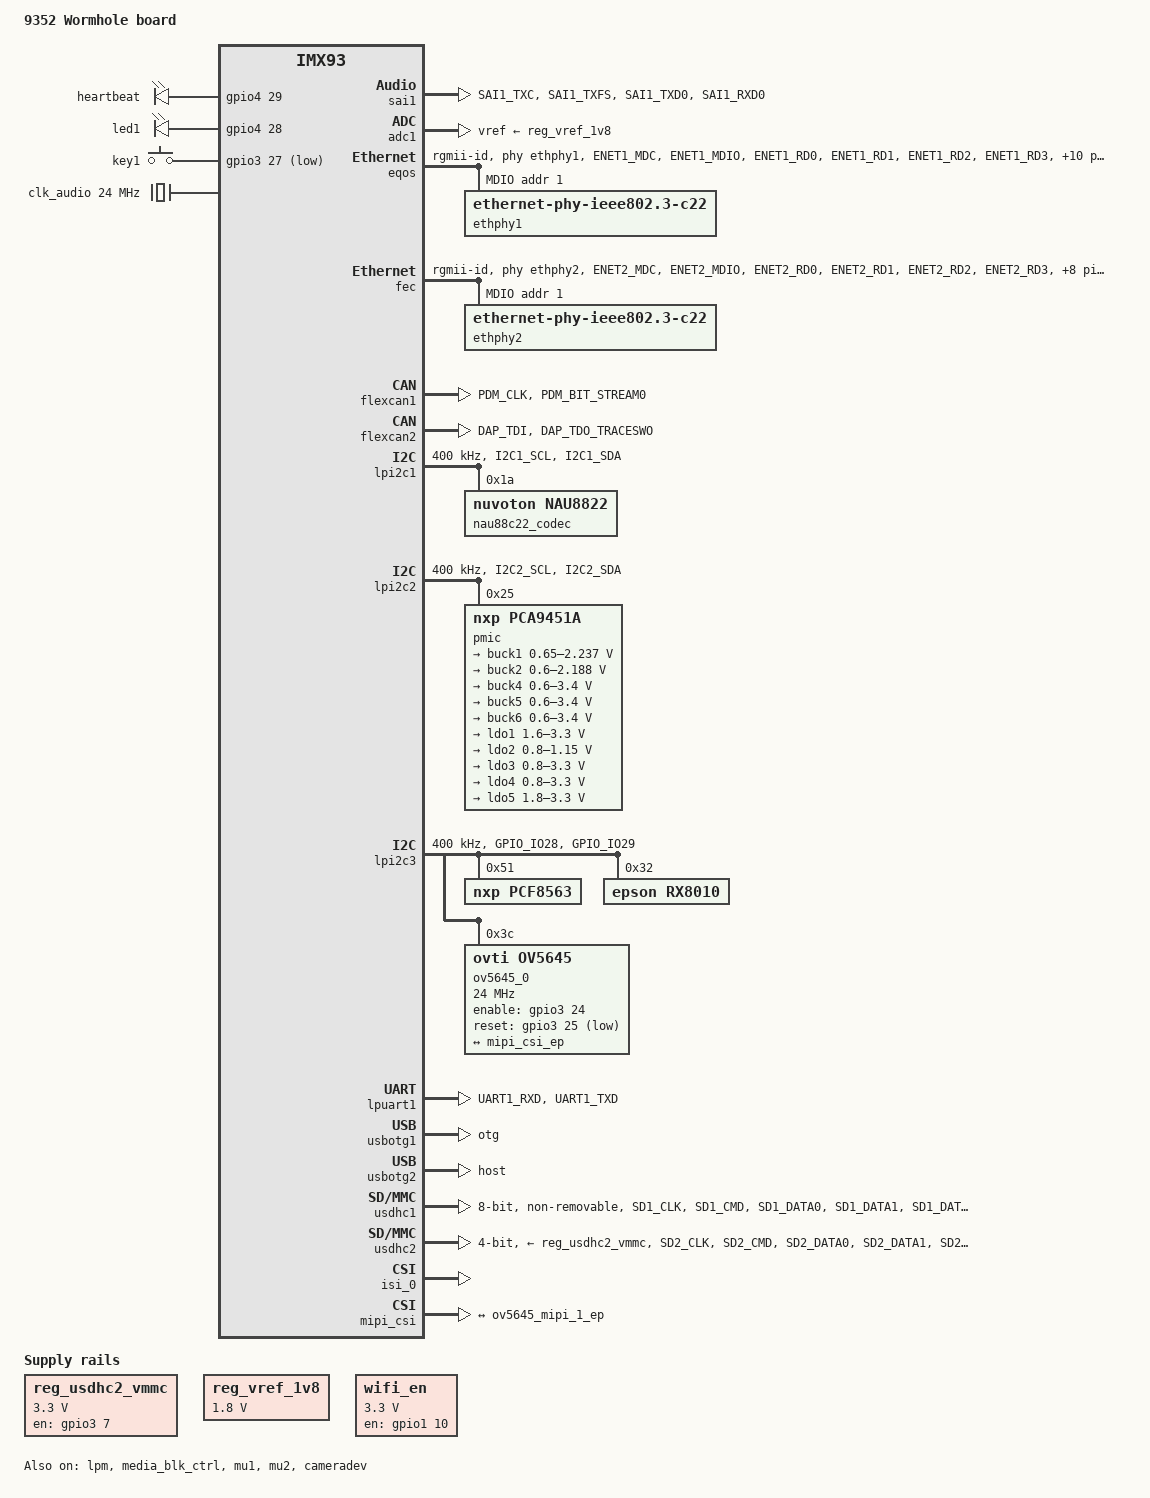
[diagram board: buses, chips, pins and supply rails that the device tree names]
// SPDX-License-Identifier: (GPL-2.0+ OR MIT)
/*
 * Copyright 2022 NXP
 */

/dts-v1/;

#include <dt-bindings/usb/pd.h>
#include "imx9352.dtsi"

&ele_mu {
	memory-region = <&ele_reserved>;
};

/ {
	model = "9352 Wormhole board";
	compatible = "fsl,imx93-11x11-evk", "fsl,imx93";

	chosen {
		stdout-path = &lpuart1;
	};

	reserved-memory {
		#address-cells = <2>;
		#size-cells = <2>;
		ranges;

		linux,cma {
			compatible = "shared-dma-pool";
			reusable;
			alloc-ranges = <0 0x80000000 0 0x25000000>;
			size = <0 0x10000000>;
			linux,cma-default;
		};

		ethosu_mem: ethosu_region@a5000000 {
			compatible = "shared-dma-pool";
			reusable;
			reg = <0x0 0xa5000000 0x0 0x10000000>;
		};

		vdev0vring0: vdev0vring0@a4000000 {
			reg = <0 0xa4000000 0 0x8000>;
			no-map;
		};

		vdev0vring1: vdev0vring1@a4008000 {
			reg = <0 0xa4008000 0 0x8000>;
			no-map;
		};

		vdev1vring0: vdev1vring0@a4000000 {
			reg = <0 0xa4010000 0 0x8000>;
			no-map;
		};

		vdev1vring1: vdev1vring1@a4018000 {
			reg = <0 0xa4018000 0 0x8000>;
			no-map;
		};

		rsc_table: rsc-table@2021e000 {
			reg = <0 0x2021e000 0 0x1000>;
			no-map;
		};

		vdevbuffer: vdevbuffer@a4020000 {
			compatible = "shared-dma-pool";
			reg = <0 0xa4020000 0 0x100000>;
			no-map;
		};

		ele_reserved: ele-reserved@a4120000 {
			compatible = "shared-dma-pool";
			reg = <0 0xa4120000 0 0x100000>;
			no-map;
		};
	};

	leds {
		compatible = "gpio-leds";
		pinctrl-names = "default";
		pinctrl-0 = <&pinctrl_gpio_led>;

		led-0 {
			label = "heartbeat";
			linux,default-trigger = "heartbeat";
			gpios = <&gpio4 29 GPIO_ACTIVE_HIGH>;
			default-state = "off";
		};

		led-1 {
			label = "led1";
			linux,default-trigger = "timer";
			/*gpios = <&gpio3 26 GPIO_ACTIVE_HIGH>;*/
			gpios = <&gpio4 28 GPIO_ACTIVE_HIGH>;
			default-state = "on";
		};
	};

	keys {
		compatible = "gpio-keys";
		pinctrl-names = "default";
		pinctrl-0 = <&pinctrl_gpio_key>;
		
		key1 {
			label = "key1";
			linux,code = <103>;
			debounce-interval = <20>;
			gpios = <&gpio3 27 GPIO_ACTIVE_LOW>;
		};
	};

	cm33: imx93-cm33 {
		compatible = "fsl,imx93-cm33";
		mbox-names = "tx", "rx", "rxdb";
		mboxes = <&mu1 0 1
			  &mu1 1 1
			  &mu1 3 1>;
		memory-region = <&vdevbuffer>, <&vdev0vring0>, <&vdev0vring1>,
				<&vdev1vring0>, <&vdev1vring1>, <&rsc_table>;
		fsl,startup-delay-ms = <500>;
	};

	ethosu {
		compatible = "arm,ethosu";
		fsl,cm33-proc = <&cm33>;
		memory-region = <&ethosu_mem>;
		power-domains = <&mlmix>;
	};

	reg_usdhc2_vmmc: regulator-usdhc2 {
		compatible = "regulator-fixed";
		pinctrl-names = "default";
		pinctrl-0 = <&pinctrl_reg_usdhc2_vmmc>;
		regulator-name = "VSD_3V3";
		regulator-min-microvolt = <3300000>;
		regulator-max-microvolt = <3300000>;
		gpio = <&gpio3 7 GPIO_ACTIVE_HIGH>;
		off-on-delay-us = <12000>;
		enable-active-high;
	};

	reg_vref_1v8: regulator-adc-vref {
		compatible = "regulator-fixed";
		regulator-name = "vref_1v8";
		regulator-min-microvolt = <1800000>;
		regulator-max-microvolt = <1800000>;
	};

	wifi_en: wifi-en {
		compatible = "regulator-fixed";
		pinctrl-names = "default";
		pinctrl-0 = <&pinctrl_wifi_en>;
		regulator-name = "WIFI_EN_3V3";
		regulator-min-microvolt = <3300000>;
		regulator-max-microvolt = <3300000>;
		gpio = <&gpio1 10 GPIO_ACTIVE_HIGH>;
		enable-active-high;
	};

	board_gpio: board-gpio {
		compatible = "regulator-fixed";
		pinctrl-names = "default";
		pinctrl-0 = <&pinctrl_gpio>;
		regulator-name = "BOARD_GPIO_CONFIG";
		status = "disabled";
	};
	sound-nau88c22 {
		status = "okay";
		compatible = "fsl,imx-audio-nau88c22";
		model = "nau88c22-audio";
		audio-cpu = <&sai1>;
		audio-codec = <&nau88c22_codec>;
		audio-routing =
			"Headphone Jack", "RHP",
			"Headphone Jack", "LHP",
			"Ext Spk", "LSPK",
			"Ext Spk", "RSPK",
			"RMICP", "AMIC",
			"RMICN", "AMIC",
			"RMICP", "AMIC",
			"RMICN", "AMIC",
			"LMICP", "AMIC",
			"LMICN", "AMIC",
			"LMICP", "AMIC",
			"LMICN", "AMIC";
	};

	clk_audio: clock-audio {
		compatible = "fixed-clock";
		#clock-cells = <0>;
		clock-frequency = <24000000>;
		clock-output-names = "clk_audio";
	};

};

&sai1 {
	#sound-dai-cells = <0>;
	pinctrl-names = "default";
	pinctrl-0 = <&pinctrl_sai1>;
	assigned-clocks = <&clk IMX93_CLK_SAI1>;
	assigned-clock-parents = <&clk IMX93_CLK_AUDIO_PLL>;
	assigned-clock-rates = <12288000>;
	status = "okay";
};

	
&adc1 {
	vref-supply = <&reg_vref_1v8>;
	status = "okay";
};





&eqos {
	pinctrl-names = "default";
	pinctrl-0 = <&pinctrl_eqos>, <&pinctrl_eth_reset>;
	phy-reset-gpios = <&gpio3 20 GPIO_ACTIVE_LOW>;
	phy-reset-duration = <200>;
	phy-mode = "rgmii-id";
	phy-handle = <&ethphy1>;
	status = "okay";

	mdio {
		compatible = "snps,dwmac-mdio";
		#address-cells = <1>;
		#size-cells = <0>;
		clock-frequency = <5000000>;

		ethphy1: ethernet-phy@1 {
			compatible = "ethernet-phy-ieee802.3-c22";
			reg = <1>;
			eee-broken-1000t;
			rtl821x,aldps-disable;
			rtl821x,clkout-disable;
		};
	};
};

&fec {
	pinctrl-names = "default";
	pinctrl-0 = <&pinctrl_fec>;
	phy-mode = "rgmii-id";
	phy-handle = <&ethphy2>;
	fsl,magic-packet;
	status = "okay";

	mdio {
		#address-cells = <1>;
		#size-cells = <0>;
		clock-frequency = <5000000>;

		ethphy2: ethernet-phy@1 {
			compatible = "ethernet-phy-ieee802.3-c22";
			reg = <1>;
			eee-broken-1000t;
			rtl821x,aldps-disable;
			rtl821x,clkout-disable;
		};
	};
};

&flexcan1 {
	pinctrl-names = "default";
	pinctrl-0 = <&pinctrl_flexcan1>;
/*	xceiver-supply = <&reg_can2_stby>;*/
	status = "okay";
};

&flexcan2 {
	pinctrl-names = "default";
	pinctrl-0 = <&pinctrl_flexcan2>;
/*	xceiver-supply = <&reg_can2_stby>;*/
	status = "okay";
};


&lpm {
	soc-supply = <&buck1>;
	status = "okay";
};

/*
 * When add, delete or change any target device setting in &lpi2c1,
 * please synchronize the changes to the &i3c1 bus in imx93-11x11-evk-i3c.dts.
 */
&lpi2c1 {
	#address-cells = <1>;
	#size-cells = <0>;
	clock-frequency = <400000>;
	pinctrl-names = "default", "sleep";
	pinctrl-0 = <&pinctrl_lpi2c1>;
	pinctrl-1 = <&pinctrl_lpi2c1>;
	status = "okay";

	nau88c22_codec: nau8822@1a {
		status = "okay";
		#sound-dai-cells = <0>;
		compatible = "nuvoton,nau8822";
		reg = <0x1a>;
		clocks = <&clk_audio>;
		clock-names = "mclk";
	};
};

&lpi2c2 {
	#address-cells = <1>;
	#size-cells = <0>;
	clock-frequency = <400000>;
	pinctrl-names = "default", "sleep";
	pinctrl-0 = <&pinctrl_lpi2c2>;
	pinctrl-1 = <&pinctrl_lpi2c2>;
	status = "okay";

	pmic@25 {
		compatible = "nxp,pca9451a";
		reg = <0x25>;
/*		interrupt-parent = <&pcal6524>;
		interrupts = <11 IRQ_TYPE_EDGE_FALLING>;*/

		regulators {
			buck1: BUCK1 {
				regulator-name = "BUCK1";
				regulator-min-microvolt = <650000>;
				regulator-max-microvolt = <2237500>;
				regulator-boot-on;
				regulator-always-on;
				regulator-ramp-delay = <3125>;
			};

			buck2: BUCK2 {
				regulator-name = "BUCK2";
				regulator-min-microvolt = <600000>;
				regulator-max-microvolt = <2187500>;
				regulator-boot-on;
				regulator-always-on;
				regulator-ramp-delay = <3125>;
			};

			buck4: BUCK4{
				regulator-name = "BUCK4";
				regulator-min-microvolt = <600000>;
				regulator-max-microvolt = <3400000>;
				regulator-boot-on;
				regulator-always-on;
			};

			buck5: BUCK5{
				regulator-name = "BUCK5";
				regulator-min-microvolt = <600000>;
				regulator-max-microvolt = <3400000>;
				regulator-boot-on;
				regulator-always-on;
			};

			buck6: BUCK6 {
				regulator-name = "BUCK6";
				regulator-min-microvolt = <600000>;
				regulator-max-microvolt = <3400000>;
				regulator-boot-on;
				regulator-always-on;
			};

			ldo1: LDO1 {
				regulator-name = "LDO1";
				regulator-min-microvolt = <1600000>;
				regulator-max-microvolt = <3300000>;
				regulator-boot-on;
				regulator-always-on;
			};

			ldo2: LDO2 {
				regulator-name = "LDO2";
				regulator-min-microvolt = <800000>;
				regulator-max-microvolt = <1150000>;
				regulator-boot-on;
				regulator-always-on;
			};

			ldo3: LDO3 {
				regulator-name = "LDO3";
				regulator-min-microvolt = <800000>;
				regulator-max-microvolt = <3300000>;
				regulator-boot-on;
				regulator-always-on;
			};

			ldo4: LDO4 {
				regulator-name = "LDO4";
				regulator-min-microvolt = <800000>;
				regulator-max-microvolt = <3300000>;
				regulator-boot-on;
				regulator-always-on;
			};

			ldo5: LDO5 {
				regulator-name = "LDO5";
				regulator-min-microvolt = <1800000>;
				regulator-max-microvolt = <3300000>;
				regulator-boot-on;
				regulator-always-on;
			};
		};
	};

};

&lpi2c3 {
	#address-cells = <1>;
	#size-cells = <0>;
	clock-frequency = <400000>;
	pinctrl-names = "default", "sleep";
	pinctrl-0 = <&pinctrl_lpi2c3>;
	pinctrl-1 = <&pinctrl_lpi2c3>;
	status = "okay";

	pcf8563:rtc@51 {
                compatible = "nxp,pcf8563";
                reg = <0x51>;
                status = "okay";
	};

	rx8010:rtc@32 {
			compatible = "epson,rx8010";
			reg = <0x32>;
			status = "okay";
	};

	ov5645_0: ov5645_mipi@3c {
		compatible = "ovti,ov5645";
		reg = <0x3c>;
		pinctrl-names = "default";
		pinctrl-0 = <&pinctrl_csi0_gpio>;
		clocks = <&clk IMX93_CLK_CCM_CKO3>;
		clock-names = "xclk";
		assigned-clocks = <&clk IMX93_CLK_CCM_CKO3>;
		assigned-clock-parents = <&clk IMX93_CLK_24M>;
		assigned-clock-rates = <24000000>;
		csi_id = <0>;
		enable-gpios = <&gpio3 24 GPIO_ACTIVE_HIGH>;
		reset-gpios = <&gpio3 25 GPIO_ACTIVE_LOW>;
		clock-frequency = <24000000>;
		mclk = <24000000>;
		mclk_source = <0>;
		mipi_csi;
		status = "okay";

		port {
			ov5645_mipi_1_ep: endpoint {
				remote-endpoint = <&mipi_csi_ep>;
				data-lanes = <1 2>;
				clock-lanes = <0>;
				link-frequencies = /bits/ 64 <336000000>;
			};
		};
	};
};

&lpuart1 { /* console */
	pinctrl-names = "default";
	pinctrl-0 = <&pinctrl_uart1>;
	status = "okay";
};


&media_blk_ctrl {
	status = "okay";
};

&mu1 {
	status = "okay";
};

&mu2 {
	status = "okay";
};

&usbotg1 {
	dr_mode = "otg";
/*	hnp-disable;
	srp-disable;*/
	adp-disable;
/*	usb-role-switch;*/
	disable-over-current;
	samsung,picophy-pre-emp-curr-control = <3>;
	samsung,picophy-dc-vol-level-adjust = <7>;
	status = "okay";
/*
	port {
		usb1_drd_sw: endpoint {
			remote-endpoint = <&typec1_dr_sw>;
		};
	};*/
};

&usbotg2 {
	dr_mode = "host";
	hnp-disable;
	srp-disable;
	adp-disable;
	/*usb-role-switch;*/
	disable-over-current;
	samsung,picophy-pre-emp-curr-control = <3>;
	samsung,picophy-dc-vol-level-adjust = <7>;
	status = "okay";
/*
	port {
		usb2_drd_sw: endpoint {
			remote-endpoint = <&typec2_dr_sw>;
		};
	};*/
};

&usdhc1 {
	pinctrl-names = "default", "state_100mhz", "state_200mhz";
	pinctrl-0 = <&pinctrl_usdhc1>;
	pinctrl-1 = <&pinctrl_usdhc1>;
	pinctrl-2 = <&pinctrl_usdhc1>;
	bus-width = <8>;
	mmc-ddr-1_8v;
	mmc-hs200-1_8v;
	mmc-hs400-1_8v;
	non-removable;
	status = "okay";
};

&usdhc2 {
	pinctrl-names = "default", "state_100mhz", "state_200mhz";
	pinctrl-0 = <&pinctrl_usdhc2>, <&pinctrl_usdhc2_gpio>;
	pinctrl-1 = <&pinctrl_usdhc2>, <&pinctrl_usdhc2_gpio>;
	pinctrl-2 = <&pinctrl_usdhc2>, <&pinctrl_usdhc2_gpio>;
	cd-gpios = <&gpio3 00 GPIO_ACTIVE_LOW>;
	vmmc-supply = <&reg_usdhc2_vmmc>;
	bus-width = <4>;
	status = "okay";
	no-sdio;
	no-mmc;
};

&flexio1_pwm {
	pinctrl-names = "default";
	pinctrl-0 = <&pinctrl_flexio1pwm>;
	status = "disabled";
	pwmpin = /bits/ 8 <26>;
};

&flexio2_pwm {
	pinctrl-names = "default";
	pinctrl-0 = <&pinctrl_flexio2pwm>;
	status = "disabled";
	pwmpin = /bits/ 8 <28>;
};

&iomuxc {
	pinctrl_gpio: gpio0grp {
		fsl,pins = <
			MX93_PAD_GPIO_IO00__GPIO2_IO00		0x31e
			MX93_PAD_GPIO_IO01__GPIO2_IO01		0x31e
			MX93_PAD_GPIO_IO02__GPIO2_IO02		0x31e
			MX93_PAD_GPIO_IO03__GPIO2_IO03		0x31e
			MX93_PAD_GPIO_IO04__GPIO2_IO04		0x31e
			MX93_PAD_GPIO_IO05__GPIO2_IO05		0x31e
			MX93_PAD_GPIO_IO06__GPIO2_IO06		0x31e
			MX93_PAD_GPIO_IO07__GPIO2_IO07		0x31e
			MX93_PAD_GPIO_IO08__GPIO2_IO08		0x31e
			MX93_PAD_GPIO_IO09__GPIO2_IO09		0x31e
			MX93_PAD_GPIO_IO10__GPIO2_IO10		0x31e
			MX93_PAD_GPIO_IO11__GPIO2_IO11		0x31e
			MX93_PAD_GPIO_IO12__GPIO2_IO12		0x31e
			MX93_PAD_GPIO_IO13__GPIO2_IO13		0x31e
			MX93_PAD_GPIO_IO14__GPIO2_IO14		0x31e
			MX93_PAD_GPIO_IO15__GPIO2_IO15		0x31e
			MX93_PAD_GPIO_IO16__GPIO2_IO16		0x31e
			MX93_PAD_GPIO_IO17__GPIO2_IO17		0x31e
			MX93_PAD_GPIO_IO18__GPIO2_IO18		0x31e
			MX93_PAD_GPIO_IO19__GPIO2_IO19		0x31e
			MX93_PAD_GPIO_IO20__GPIO2_IO20		0x31e
			MX93_PAD_GPIO_IO21__GPIO2_IO21		0x31e
			MX93_PAD_GPIO_IO22__GPIO2_IO22		0x31e
			MX93_PAD_GPIO_IO23__GPIO2_IO23		0x31e
			MX93_PAD_GPIO_IO24__GPIO2_IO24		0x31e
			MX93_PAD_GPIO_IO25__GPIO2_IO25		0x31e
			MX93_PAD_GPIO_IO26__GPIO2_IO26		0X31e
			MX93_PAD_GPIO_IO27__GPIO2_IO27		0X31e
		>;
	};

	pinctrl_eth_reset: ethresetgrp {
		fsl,pins = <
			MX93_PAD_SD3_CLK__GPIO3_IO20		0x31e
		>;
	};

	pinctrl_flexcan1: flexcan1grp {
		fsl,pins = <
			MX93_PAD_PDM_CLK__CAN1_TX			0x139e
			MX93_PAD_PDM_BIT_STREAM0__CAN1_RX		0x139e
		>;
	};

	pinctrl_flexcan2: flexcan2grp {
		fsl,pins = <
			MX93_PAD_DAP_TDI__CAN2_TX			0x139e
			MX93_PAD_DAP_TDO_TRACESWO__CAN2_RX	0x139e
		>;
	};

	pinctrl_flexio1pwm: flexio1pwmgrp {
		fsl,pins = <
			MX93_PAD_CCM_CLKO1__FLEXIO1_FLEXIO26		0x39e
		>;
	};

	pinctrl_flexio2pwm: flexio2pwmgrp {
		fsl,pins = <
			MX93_PAD_CCM_CLKO3__FLEXIO2_FLEXIO28		0x39e
		>;
	};

	pinctrl_lpi2c1: lpi2c1grp {
		fsl,pins = <
			MX93_PAD_I2C1_SCL__LPI2C1_SCL			0x40000b9e
			MX93_PAD_I2C1_SDA__LPI2C1_SDA			0x40000b9e
		>;
	};

	pinctrl_lpi2c2: lpi2c2grp {
		fsl,pins = <
			MX93_PAD_I2C2_SCL__LPI2C2_SCL			0x40000b9e
			MX93_PAD_I2C2_SDA__LPI2C2_SDA			0x40000b9e
		>;
	};

	pinctrl_lpi2c3: lpi2c3grp {
		fsl,pins = <
			MX93_PAD_GPIO_IO28__LPI2C3_SDA			0x40000b9e
			MX93_PAD_GPIO_IO29__LPI2C3_SCL			0x40000b9e
		>;
	};

	pinctrl_pcal6524: pcal6524grp {
		fsl,pins = <
			MX93_PAD_CCM_CLKO2__GPIO3_IO27			0x31e
		>;
	};

	pinctrl_eqos: eqosgrp {
		fsl,pins = <
			MX93_PAD_ENET1_MDC__ENET_QOS_MDC			0x57e
			MX93_PAD_ENET1_MDIO__ENET_QOS_MDIO			0x57e
			MX93_PAD_ENET1_RD0__ENET_QOS_RGMII_RD0			0x57e
			MX93_PAD_ENET1_RD1__ENET_QOS_RGMII_RD1			0x57e
			MX93_PAD_ENET1_RD2__ENET_QOS_RGMII_RD2			0x57e
			MX93_PAD_ENET1_RD3__ENET_QOS_RGMII_RD3			0x57e
			MX93_PAD_ENET1_RXC__CCM_ENET_QOS_CLOCK_GENERATE_RX_CLK	0x5fe
			MX93_PAD_ENET1_RX_CTL__ENET_QOS_RGMII_RX_CTL		0x57e
			MX93_PAD_ENET1_TD0__ENET_QOS_RGMII_TD0			0x57e
			MX93_PAD_ENET1_TD1__ENET_QOS_RGMII_TD1			0x57e
			MX93_PAD_ENET1_TD2__ENET_QOS_RGMII_TD2			0x57e
			MX93_PAD_ENET1_TD3__ENET_QOS_RGMII_TD3			0x57e
			MX93_PAD_ENET1_TXC__CCM_ENET_QOS_CLOCK_GENERATE_TX_CLK	0x5fe
			MX93_PAD_ENET1_TX_CTL__ENET_QOS_RGMII_TX_CTL		0x57e
		>;
	};

	pinctrl_fec: fecgrp {
		fsl,pins = <
			MX93_PAD_ENET2_MDC__ENET1_MDC			0x57e
			MX93_PAD_ENET2_MDIO__ENET1_MDIO			0x57e
			MX93_PAD_ENET2_RD0__ENET1_RGMII_RD0		0x57e
			MX93_PAD_ENET2_RD1__ENET1_RGMII_RD1		0x57e
			MX93_PAD_ENET2_RD2__ENET1_RGMII_RD2		0x57e
			MX93_PAD_ENET2_RD3__ENET1_RGMII_RD3		0x57e
			MX93_PAD_ENET2_RXC__ENET1_RGMII_RXC		0x5fe
			MX93_PAD_ENET2_RX_CTL__ENET1_RGMII_RX_CTL	0x57e
			MX93_PAD_ENET2_TD0__ENET1_RGMII_TD0		0x57e
			MX93_PAD_ENET2_TD1__ENET1_RGMII_TD1		0x57e
			MX93_PAD_ENET2_TD2__ENET1_RGMII_TD2		0x57e
			MX93_PAD_ENET2_TD3__ENET1_RGMII_TD3		0x57e
			MX93_PAD_ENET2_TXC__ENET1_RGMII_TXC		0x5fe
			MX93_PAD_ENET2_TX_CTL__ENET1_RGMII_TX_CTL	0x57e
		>;
	};

	pinctrl_uart1: uart1grp {
		fsl,pins = <
			MX93_PAD_UART1_RXD__LPUART1_RX			0x31e
			MX93_PAD_UART1_TXD__LPUART1_TX			0x31e
		>;
	};

	pinctrl_uart5: uart5grp {
		fsl,pins = <
			MX93_PAD_DAP_TDO_TRACESWO__LPUART5_TX	0x31e
			MX93_PAD_DAP_TDI__LPUART5_RX		0x31e
			MX93_PAD_DAP_TMS_SWDIO__LPUART5_RTS_B	0x31e
			MX93_PAD_DAP_TCLK_SWCLK__LPUART5_CTS_B	0x31e
		>;
	};

	pinctrl_usdhc1: usdhc1grp {
		fsl,pins = <
			MX93_PAD_SD1_CLK__USDHC1_CLK		0x15fe
			MX93_PAD_SD1_CMD__USDHC1_CMD		0x13fe
			MX93_PAD_SD1_DATA0__USDHC1_DATA0	0x13fe
			MX93_PAD_SD1_DATA1__USDHC1_DATA1	0x13fe
			MX93_PAD_SD1_DATA2__USDHC1_DATA2	0x13fe
			MX93_PAD_SD1_DATA3__USDHC1_DATA3	0x13fe
			MX93_PAD_SD1_DATA4__USDHC1_DATA4	0x13fe
			MX93_PAD_SD1_DATA5__USDHC1_DATA5	0x13fe
			MX93_PAD_SD1_DATA6__USDHC1_DATA6	0x13fe
			MX93_PAD_SD1_DATA7__USDHC1_DATA7	0x13fe
			MX93_PAD_SD1_STROBE__USDHC1_STROBE	0x15fe
		>;
	};

	pinctrl_reg_usdhc2_vmmc: regusdhc2vmmcgrp {
		fsl,pins = <
			MX93_PAD_SD2_RESET_B__GPIO3_IO07	0x31e
		>;
	};

	pinctrl_usdhc2_gpio: usdhc2gpiogrp {
		fsl,pins = <
			MX93_PAD_SD2_CD_B__GPIO3_IO00		0x31e
		>;
	};

	pinctrl_usdhc2: usdhc2grp {
		fsl,pins = <
			MX93_PAD_SD2_CLK__USDHC2_CLK		0x17fe
			MX93_PAD_SD2_CMD__USDHC2_CMD		0x13fe
			MX93_PAD_SD2_DATA0__USDHC2_DATA0	0x13fe
			MX93_PAD_SD2_DATA1__USDHC2_DATA1	0x13fe
			MX93_PAD_SD2_DATA2__USDHC2_DATA2	0x13fe
			MX93_PAD_SD2_DATA3__USDHC2_DATA3	0x13fe
			MX93_PAD_SD2_VSELECT__USDHC2_VSELECT	0x51e
		>;
	};

	pinctrl_usdhc3: usdhc3grp {
		fsl,pins = <
			MX93_PAD_SD3_CLK__USDHC3_CLK		0x15fe
			MX93_PAD_SD3_CMD__USDHC3_CMD		0x13fe
			MX93_PAD_SD3_DATA0__USDHC3_DATA0	0x13fe
			MX93_PAD_SD3_DATA1__USDHC3_DATA1	0x13fe
			MX93_PAD_SD3_DATA2__USDHC3_DATA2	0x13fe
			MX93_PAD_SD3_DATA3__USDHC3_DATA3	0x13fe
		>;
	};

	pinctrl_usdhc3_wlan: usdhc3wlangrp {
		fsl,pins = <
			MX93_PAD_CCM_CLKO1__GPIO3_IO26		0x31e
		>;
	};

	pinctrl_sai1: sai1grp {
		fsl,pins = <
			MX93_PAD_SAI1_TXC__SAI1_TX_BCLK			0x31e
			MX93_PAD_SAI1_TXFS__SAI1_TX_SYNC		0x31e
			MX93_PAD_SAI1_TXD0__SAI1_TX_DATA00		0x31e
			MX93_PAD_SAI1_RXD0__SAI1_RX_DATA00		0x31e
		>;
	};

	pinctrl_gpio_led: gpioledgrp {
		fsl,pins = <
			MX93_PAD_CCM_CLKO4__GPIO4_IO29		0x31e
			/*MX93_PAD_CCM_CLKO1__GPIO3_IO26		0x31e*/
			MX93_PAD_CCM_CLKO3__GPIO4_IO28		0x31e
		>;
	};

	pinctrl_gpio_key: gpiokeygrp {
		fsl,pins = <
			MX93_PAD_CCM_CLKO2__GPIO3_IO27		0x31e
		>;
	};

	pinctrl_sai3: sai3grp {
		fsl,pins = <
			MX93_PAD_GPIO_IO26__SAI3_TX_SYNC		0x31e
			MX93_PAD_GPIO_IO16__SAI3_TX_BCLK		0x31e
			MX93_PAD_GPIO_IO17__SAI3_MCLK		0x31e
			MX93_PAD_GPIO_IO19__SAI3_TX_DATA00		0x31e
			MX93_PAD_GPIO_IO20__SAI3_RX_DATA00		0x31e
		>;
	};

	pinctrl_pdm: pdmgrp {
		fsl,pins = <
			MX93_PAD_PDM_CLK__PDM_CLK			0x31e
			MX93_PAD_PDM_BIT_STREAM0__PDM_BIT_STREAM00	0x31e
			MX93_PAD_PDM_BIT_STREAM1__PDM_BIT_STREAM01	0x31e
		>;
	};

	pinctrl_spdif: spdifgrp {
		fsl,pins = <
			MX93_PAD_GPIO_IO22__SPDIF_IN		0x31e
			MX93_PAD_GPIO_IO23__SPDIF_OUT		0x31e
		>;
	};
	pinctrl_csi0_gpio: csigpiogpr {
		fsl,pins = <
			MX93_PAD_SD3_DATA3__GPIO3_IO25		0x31e //rst
			MX93_PAD_SD3_DATA2__GPIO3_IO24		0x31e //pwdn
		>;
	};
	pinctrl_wifi_en: wifi_engrp {
		fsl,pins = <
			MX93_PAD_PDM_BIT_STREAM1__GPIO1_IO10	0x31e
		>;
	};
};

&epxp {
	status = "disabled";
};

&cameradev {
	status = "okay";
};

&isi_0 {
	status = "okay";

	cap_device {
		status = "okay";
	};
};
&mipi_csi {
	#address-cells = <1>;
	#size-cells = <0>;
	status = "okay";

	port@0 {
		reg = <0>;
		mipi_csi_ep: endpoint {
			remote-endpoint = <&ov5645_mipi_1_ep>;
			data-lanes = <2>;
			cfg-clk-range = <28>;
			hs-clk-range = <0x2b>;
			bus-type = <4>;
		};
	};
};

